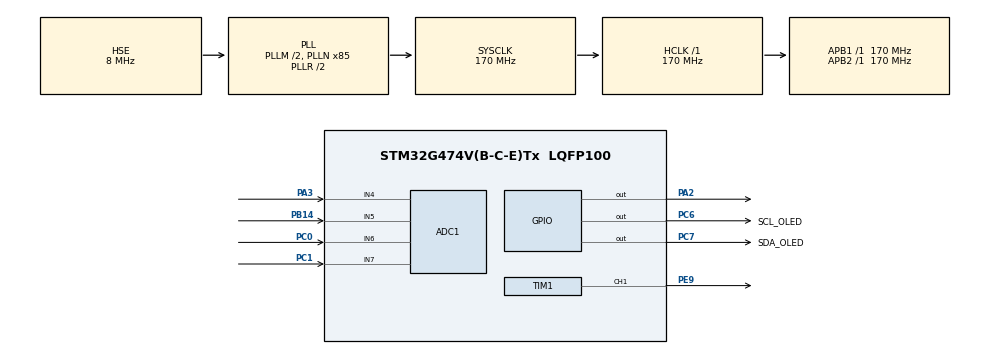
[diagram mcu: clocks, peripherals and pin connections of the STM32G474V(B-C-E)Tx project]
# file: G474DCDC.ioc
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ADC1.Channel-0\#ChannelRegularConversion=ADC_CHANNEL_4
ADC1.Channel-1\#ChannelRegularConversion=ADC_CHANNEL_5
ADC1.Channel-2\#ChannelRegularConversion=ADC_CHANNEL_6
ADC1.Channel-3\#ChannelRegularConversion=ADC_CHANNEL_7
ADC1.DMAContinuousRequests=ENABLE
ADC1.ExternalTrigConv=ADC_EXTERNALTRIG_T1_TRGO
ADC1.NbrOfConversion=4
ADC1.NbrOfConversionFlag=1
ADC1.OffsetNumber-0\#ChannelRegularConversion=ADC_OFFSET_NONE
ADC1.OffsetNumber-1\#ChannelRegularConversion=ADC_OFFSET_NONE
ADC1.OffsetNumber-2\#ChannelRegularConversion=ADC_OFFSET_NONE
ADC1.OffsetNumber-3\#ChannelRegularConversion=ADC_OFFSET_NONE
ADC1.Rank-0\#ChannelRegularConversion=1
ADC1.Rank-1\#ChannelRegularConversion=2
ADC1.Rank-2\#ChannelRegularConversion=3
ADC1.Rank-3\#ChannelRegularConversion=4
ADC1.SamplingTime-0\#ChannelRegularConversion=ADC_SAMPLETIME_12CYCLES_5
ADC1.SamplingTime-1\#ChannelRegularConversion=ADC_SAMPLETIME_12CYCLES_5
ADC1.SamplingTime-2\#ChannelRegularConversion=ADC_SAMPLETIME_12CYCLES_5
ADC1.SamplingTime-3\#ChannelRegularConversion=ADC_SAMPLETIME_12CYCLES_5
ADC1.master=1
Dma.ADC1.0.Direction=DMA_PERIPH_TO_MEMORY
Dma.ADC1.0.EventEnable=DISABLE
Dma.ADC1.0.Instance=DMA1_Channel1
Dma.ADC1.0.MemDataAlignment=DMA_MDATAALIGN_HALFWORD
Dma.ADC1.0.MemInc=DMA_MINC_ENABLE
Dma.ADC1.0.Mode=DMA_CIRCULAR
Dma.ADC1.0.PeriphDataAlignment=DMA_PDATAALIGN_HALFWORD
Dma.ADC1.0.PeriphInc=DMA_PINC_DISABLE
Dma.ADC1.0.Polarity=HAL_DMAMUX_REQ_GEN_RISING
Dma.ADC1.0.Priority=DMA_PRIORITY_LOW
Dma.ADC1.0.RequestNumber=1
Dma.ADC1.0.SignalID=NONE
Dma.ADC1.0.SyncEnable=DISABLE
Dma.ADC1.0.SyncPolarity=HAL_DMAMUX_SYNC_NO_EVENT
Dma.ADC1.0.SyncRequestNumber=1
Dma.ADC1.0.SyncSignalID=NONE
Dma.Request0=ADC1
Mcu.Family=STM32G4
Mcu.Name=STM32G474V(B-C-E)Tx
Mcu.Package=LQFP100
NVIC.DMA1_Channel1_IRQn=true\:0\:0\:false\:false\:true\:false\:true\:true
NVIC.PriorityGroup=NVIC_PRIORITYGROUP_4
NVIC.TIM1_UP_TIM16_IRQn=true\:0\:0\:false\:false\:true\:true\:true\:true
PA13.Mode=Serial_Wire
PA13.Signal=SYS_JTMS-SWDIO
PA14.Mode=Serial_Wire
PA14.Signal=SYS_JTCK-SWCLK
PA2.Signal=GPIO_Output
PA3.Mode=IN4-Single-Ended
PA3.Signal=ADC1_IN4
PB14.Mode=IN5-Single-Ended
PB14.Signal=ADC1_IN5
PC0.Mode=IN6-Single-Ended
PC0.Signal=ADC1_IN6
PC1.Mode=IN7-Single-Ended
PC1.Signal=ADC1_IN7
PC6.GPIO_Label=SCL_OLED
PC6.Signal=GPIO_Output
PC7.GPIO_Label=SDA_OLED
PC7.Signal=GPIO_Output
PE9.Signal=S_TIM1_CH1
PF0-OSC_IN.Mode=HSE-External-Oscillator
PF0-OSC_IN.Signal=RCC_OSC_IN
PF1-OSC_OUT.Mode=HSE-External-Oscillator
PF1-OSC_OUT.Signal=RCC_OSC_OUT
ProjectManager.HeapSize=0x200
ProjectManager.StackSize=0x800
ProjectManager.TargetToolchain=MDK-ARM V5.32
RCC.ADC12Freq_Value=170000000
RCC.ADC345Freq_Value=170000000
RCC.AHBFreq_Value=170000000
RCC.APB1Freq_Value=170000000
RCC.APB1TimFreq_Value=170000000
RCC.APB2Freq_Value=170000000
RCC.APB2TimFreq_Value=170000000
RCC.CortexFreq_Value=170000000
RCC.EXTERNAL_CLOCK_VALUE=12288000
RCC.HCLKFreq_Value=170000000
RCC.HSE_VALUE=8000000
RCC.HSI48_VALUE=48000000
RCC.HSI_VALUE=16000000
RCC.LSE_VALUE=32768
RCC.PLLM=RCC_PLLM_DIV2
RCC.PLLN=85
RCC.PLLSourceVirtual=RCC_PLLSOURCE_HSE
RCC.SYSCLKFreq_VALUE=170000000
RCC.SYSCLKSource=RCC_SYSCLKSOURCE_PLLCLK
RCC.USBFreq_Value=170000000
RCC.VCOOutputFreq_Value=340000000
SH.S_TIM1_CH1.0=TIM1_CH1,PWM Generation1 CH1
TIM1.AutoReloadPreload=TIM_AUTORELOAD_PRELOAD_ENABLE
TIM1.Channel-PWM\ Generation1\ CH1=TIM_CHANNEL_1
TIM1.CounterMode=TIM_COUNTERMODE_CENTERALIGNED1
TIM1.PeriodNoDither=4249
TIM1.TIM_MasterOutputTrigger=TIM_TRGO_UPDATE
TIM1.TIM_MasterOutputTrigger2=TIM_TRGO2_UPDATE
TIM1.TIM_MasterSlaveMode=TIM_MASTERSLAVEMODE_ENABLE
VP_SYS_VS_DBSignals.Mode=DisableDeadBatterySignals
VP_TIM1_VS_ClockSourceINT.Mode=Internal
board=custom

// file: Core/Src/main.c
/* USER CODE BEGIN Header */
/**
  ******************************************************************************
  * @file           : main.c
  * @brief          : Main program body
  ******************************************************************************
  * @attention
  *
  * Copyright (c) 2026 STMicroelectronics.
  * All rights reserved.
  *
  * This software is licensed under terms that can be found in the LICENSE file
  * in the root directory of this software component.
  * If no LICENSE file comes with this software, it is provided AS-IS.
  *
  ******************************************************************************
  */
/* USER CODE END Header */
#include "main.h"
#include "adc.h"
#include "dma.h"
#include "tim.h"
#include "gpio.h"

/* USER CODE BEGIN Includes */
#include "OLED.h"
#include "pid.h"
#include "myadc.h"

/* USER CODE END Includes */

/* USER CODE BEGIN PV */
#define Io_targe  0.2
#define V_targe 30
//float Io_targe=0;
float U1, I1, Io,Uo;
float b_U1, b_I1, b_Io,b_Uo;

PID_TypeDef pid_DCDC_output;
PID_TypeDef pid_Io_output;
ADC_Result_t adc;

uint16_t duty1 = 400;
uint32_t count =0;
/* USER CODE END PV */

void SystemClock_Config(void);

int main(void)
{

  /* MCU Configuration--------------------------------------------------------*/

  /* Reset of all peripherals, Initializes the Flash interface and the Systick. */
  HAL_Init();

  /* Configure the system clock */
  SystemClock_Config();

  /* Initialize all configured peripherals */
  MX_GPIO_Init();
  MX_DMA_Init();
  MX_ADC1_Init();
  MX_TIM1_Init();
  /* USER CODE BEGIN 2 */
	HAL_TIM_PWM_Start(&htim1, TIM_CHANNEL_1);
  HAL_TIM_Base_Start_IT(&htim1);
  __HAL_TIM_MOE_ENABLE(&htim1);  //高级定时器强制开启主输出

	 OLED_Init ();
	  BADC_Start();
   BADC_CalibrateZero();
	 PID_Init(&pid_DCDC_output,  0.5f, 50.0f, 0.0f,
         -2.0f, 1.0f,
         -0.02f, 0.02f,
         0.0005f);
	 PID_Init(&pid_Io_output, 0.1f, 200.0f, 0.0f,
         0.05f, 0.95f,
         -0.005f, 0.005f,
         0.00005f);

  /* USER CODE END 2 */

  /* Infinite loop */
  while (1)
  {

    /* USER CODE BEGIN 3 */

		//1.验证OLED和时钟
//		OLED_ShowFloat(1, 1, count, 5, 0);

		//2.验证采样
		if(BADC_GetResult(&adc))
    {
			 OLED_ShowFloat (2,1,adc.dc_voltage,3,3);
			 OLED_ShowFloat (3,1,adc.dc2_voltage,3,3);
			 OLED_ShowFloat (4,1,adc.current,3,3);

			 HAL_Delay(100);

    }

  }
  /* USER CODE END 3 */
}

void SystemClock_Config(void)
{
  RCC_OscInitTypeDef RCC_OscInitStruct = {0};
  RCC_ClkInitTypeDef RCC_ClkInitStruct = {0};

  /** Configure the main internal regulator output voltage
  */
  HAL_PWREx_ControlVoltageScaling(PWR_REGULATOR_VOLTAGE_SCALE1_BOOST);

  /** Initializes the RCC Oscillators according to the specified parameters
  * in the RCC_OscInitTypeDef structure.
  */
  RCC_OscInitStruct.OscillatorType = RCC_OSCILLATORTYPE_HSE;
  RCC_OscInitStruct.HSEState = RCC_HSE_ON;
  RCC_OscInitStruct.PLL.PLLState = RCC_PLL_ON;
  RCC_OscInitStruct.PLL.PLLSource = RCC_PLLSOURCE_HSE;
  RCC_OscInitStruct.PLL.PLLM = RCC_PLLM_DIV2;
  RCC_OscInitStruct.PLL.PLLN = 85;
  RCC_OscInitStruct.PLL.PLLP = RCC_PLLP_DIV2;
  RCC_OscInitStruct.PLL.PLLQ = RCC_PLLQ_DIV2;
  RCC_OscInitStruct.PLL.PLLR = RCC_PLLR_DIV2;
  if (HAL_RCC_OscConfig(&RCC_OscInitStruct) != HAL_OK)
  {
    Error_Handler();
  }

  /** Initializes the CPU, AHB and APB buses clocks
  */
  RCC_ClkInitStruct.ClockType = RCC_CLOCKTYPE_HCLK|RCC_CLOCKTYPE_SYSCLK
                              |RCC_CLOCKTYPE_PCLK1|RCC_CLOCKTYPE_PCLK2;
  RCC_ClkInitStruct.SYSCLKSource = RCC_SYSCLKSOURCE_PLLCLK;
  RCC_ClkInitStruct.AHBCLKDivider = RCC_SYSCLK_DIV1;
  RCC_ClkInitStruct.APB1CLKDivider = RCC_HCLK_DIV1;
  RCC_ClkInitStruct.APB2CLKDivider = RCC_HCLK_DIV1;

  if (HAL_RCC_ClockConfig(&RCC_ClkInitStruct, FLASH_LATENCY_4) != HAL_OK)
  {
    Error_Handler();
  }
}

/* USER CODE BEGIN 4 */
void HAL_TIM_PeriodElapsedCallback(TIM_HandleTypeDef *htim)
{
    // 判断是TIM1 20kHz更新中断
    if(htim->Instance == TIM1)
    {
			//1
			count++;
			if(BADC_GetResult(&adc))
     {
			//电流环
			pid_Io_output.target =Io_targe;
			pid_Io_output.feedback=adc.current;
			 duty1=PID_Calc(&pid_Io_output);
			 uint32_t ccr = (uint32_t)(duty1* 4250);
			if (ccr > 3824) ccr = 3824;   // 0.9 * 4249
			if (ccr < 425)  ccr = 425;    // 0.1 * 4249
			__HAL_TIM_SET_COMPARE(&htim1, TIM_CHANNEL_1, ccr);
		 }

//		 //电压环
//			if(count>=10)
//			{
//				count=0;
//				pid_DCDC_output.target =V_targe;
//			  pid_DCDC_output.feedback=adc.dc2_voltage;
//			 Io_targe=PID_Calc(&pid_DCDC_output);
//			}
		}

}

/* USER CODE END 4 */

void Error_Handler(void)
{
  __disable_irq();
  while (1)
  {
  }
}
